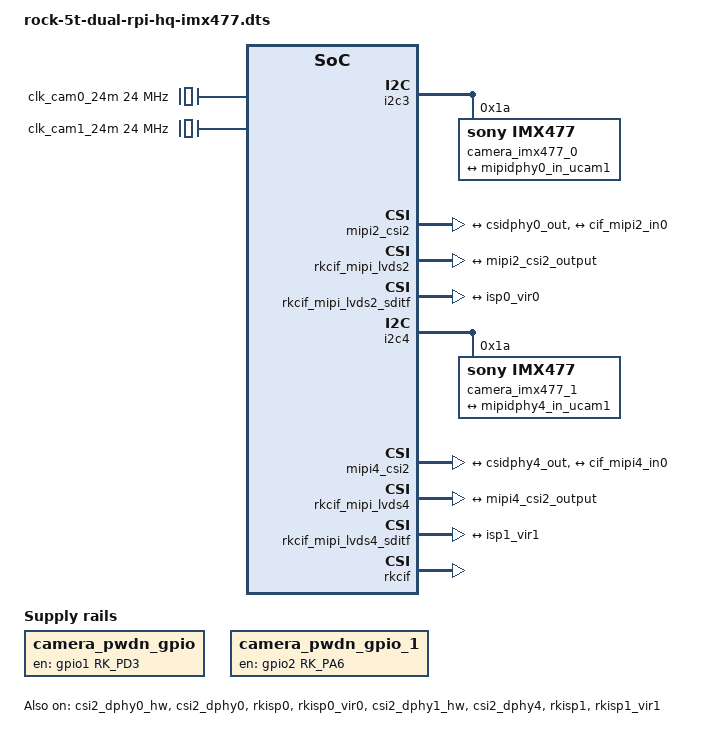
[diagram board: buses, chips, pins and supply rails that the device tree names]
/dts-v1/;
/plugin/;

/*
 * ROCK 5T: dual Raspberry Pi HQ Camera (Sony IMX477), one per CAM connector,
 * with XVS hardware genlock roles baked in (CAM0 sensor = source/master,
 * CAM1 sensor = sink/slave; the XVS pads are wired together off-board).
 *
 * Chains copied from Radxa's own rock-5t-cam{0,1}-radxa-camera-8m-219.dts
 * (the shipped, working 2-lane Sony-sensor overlays for this exact board),
 * with the sensor nodes swapped to imx477@1a. Wiring facts cross-checked
 * against the ROCK 5T v1.2 schematic sheet 18 (see ../SCHEMATIC_FACTS.md):
 *
 *   CAM0 (J5002): i2c3,      pwdn GPIO1_D3, csi2_dphy0 -> mipi2_csi2
 *                 -> rkcif_mipi_lvds2 -> rkisp0_vir0
 *   CAM1 (J10):   i2c4 (m1), pwdn GPIO2_A6, csi2_dphy4 -> mipi4_csi2
 *                 -> rkcif_mipi_lvds4 -> rkisp1_vir1
 *
 * The Pi HQ generates its own 24 MHz on-camera; the clk_cam_24m nodes are
 * fixed-clock stubs satisfying the driver's clock request.
 *
 * Requires the out-of-tree imx477.ko (../driver/) which reads the
 * trigger-mode property. IQ file: imx477_RPI-HQ_default.json (../iqfiles/).
 */

#include <dt-bindings/gpio/gpio.h>
#include <dt-bindings/pinctrl/rockchip.h>

/ {
	metadata {
		title = "Enable dual Raspberry Pi HQ Camera (IMX477, XVS genlock)";
		compatible = "radxa,rock-5t", "radxa,rock-5t-industrial";
		category = "camera";
		exclusive = "csi2_dphy0", "csi2_dphy4";
		description = "Raspberry Pi HQ Camera (IMX477) on CAM0 and CAM1, genlocked via XVS (CAM0 source, CAM1 sink).";
	};
};

&{/} {
	camera_pwdn_gpio: camera-pwdn-gpio {
		compatible = "regulator-fixed";
		regulator-name = "camera_pwdn_gpio";
		regulator-always-on;
		regulator-boot-on;
		enable-active-high;
		gpio = <&gpio1 RK_PD3 GPIO_ACTIVE_HIGH>;
		pinctrl-names = "default";
		pinctrl-0 = <&cam_pwdn_gpio>;
	};

	camera_pwdn_gpio_1: camera-pwdn-gpio-1 {
		compatible = "regulator-fixed";
		regulator-name = "camera_pwdn_gpio_1";
		regulator-always-on;
		regulator-boot-on;
		enable-active-high;
		gpio = <&gpio2 RK_PA6 GPIO_ACTIVE_HIGH>;
		pinctrl-names = "default";
		pinctrl-0 = <&cam_pwdn_gpio_1>;
	};

	clk_cam0_24m: external-camera0-clock-24m {
		compatible = "fixed-clock";
		clock-frequency = <24000000>;
		clock-output-names = "clk_cam0_24m";
		#clock-cells = <0>;
	};

	clk_cam1_24m: external-camera1-clock-24m {
		compatible = "fixed-clock";
		clock-frequency = <24000000>;
		clock-output-names = "clk_cam1_24m";
		#clock-cells = <0>;
	};
};

/* ------------------------- CAM0: genlock SOURCE ------------------------- */

&i2c3 {
	status = "okay";
	#address-cells = <1>;
	#size-cells = <0>;

	camera_imx477_0: camera-imx477@1a {
		compatible = "sony,imx477";
		reg = <0x1a>;

		clocks = <&clk_cam0_24m>;
		clock-names = "xvclk";

		rockchip,camera-module-index = <0>;
		rockchip,camera-module-facing = "back";
		rockchip,camera-module-name = "RPI-HQ";
		rockchip,camera-module-lens-name = "default";

		/* XVS genlock: this sensor drives the shared XVS wire */
		trigger-mode = "source";

		port {
			imx477_out0: endpoint {
				remote-endpoint = <&mipidphy0_in_ucam1>;
				data-lanes = <1 2>;
			};
		};
	};
};

&csi2_dphy0_hw {
	status = "okay";
};

&csi2_dphy0 {
	status = "okay";

	ports {
		#address-cells = <1>;
		#size-cells = <0>;

		port@0 {
			reg = <0>;
			#address-cells = <1>;
			#size-cells = <0>;

			mipidphy0_in_ucam1: endpoint@2 {
				reg = <2>;
				remote-endpoint = <&imx477_out0>;
				data-lanes = <1 2>;
			};
		};

		port@1 {
			reg = <1>;
			#address-cells = <1>;
			#size-cells = <0>;

			csidphy0_out: endpoint@0 {
				reg = <0>;
				remote-endpoint = <&mipi2_csi2_input>;
			};
		};
	};
};

&mipi2_csi2 {
	status = "okay";

	ports {
		#address-cells = <1>;
		#size-cells = <0>;

		port@0 {
			reg = <0>;
			#address-cells = <1>;
			#size-cells = <0>;

			mipi2_csi2_input: endpoint@1 {
				reg = <1>;
				remote-endpoint = <&csidphy0_out>;
			};
		};

		port@1 {
			reg = <1>;
			#address-cells = <1>;
			#size-cells = <0>;

			mipi2_csi2_output: endpoint@0 {
				reg = <0>;
				remote-endpoint = <&cif_mipi2_in0>;
			};
		};
	};
};

&rkcif_mipi_lvds2 {
	status = "okay";

	port {
		cif_mipi2_in0: endpoint {
			remote-endpoint = <&mipi2_csi2_output>;
		};
	};
};

&rkcif_mipi_lvds2_sditf {
	status = "okay";

	port {
		mipi_lvds2_sditf: endpoint {
			remote-endpoint = <&isp0_vir0>;
		};
	};
};

&isp0_mmu {
	status = "okay";
};

&rkisp0 {
	status = "okay";
};

&rkisp0_vir0 {
	status = "okay";

	port {
		#address-cells = <1>;
		#size-cells = <0>;

		isp0_vir0: endpoint@0 {
			reg = <0>;
			remote-endpoint = <&mipi_lvds2_sditf>;
		};
	};
};

/* -------------------------- CAM1: genlock SINK -------------------------- */

&i2c4 {
	status = "okay";
	pinctrl-names = "default";
	pinctrl-0 = <&i2c4m1_xfer>;
	#address-cells = <1>;
	#size-cells = <0>;

	camera_imx477_1: camera-imx477@1a {
		compatible = "sony,imx477";
		reg = <0x1a>;

		clocks = <&clk_cam1_24m>;
		clock-names = "xvclk";

		rockchip,camera-module-index = <1>;
		rockchip,camera-module-facing = "back";
		rockchip,camera-module-name = "RPI-HQ";
		rockchip,camera-module-lens-name = "default";

		/* XVS genlock: this sensor re-aligns to pulses on the XVS wire */
		trigger-mode = "sink";

		port {
			imx477_out1: endpoint {
				remote-endpoint = <&mipidphy4_in_ucam1>;
				data-lanes = <1 2>;
			};
		};
	};
};

&csi2_dphy1_hw {
	status = "okay";
};

&csi2_dphy4 {
	status = "okay";

	ports {
		#address-cells = <1>;
		#size-cells = <0>;

		port@0 {
			reg = <0>;
			#address-cells = <1>;
			#size-cells = <0>;

			mipidphy4_in_ucam1: endpoint@2 {
				reg = <2>;
				remote-endpoint = <&imx477_out1>;
				data-lanes = <1 2>;
			};
		};

		port@1 {
			reg = <1>;
			#address-cells = <1>;
			#size-cells = <0>;

			csidphy4_out: endpoint@0 {
				reg = <0>;
				remote-endpoint = <&mipi4_csi2_input>;
			};
		};
	};
};

&mipi4_csi2 {
	status = "okay";

	ports {
		#address-cells = <1>;
		#size-cells = <0>;

		port@0 {
			reg = <0>;
			#address-cells = <1>;
			#size-cells = <0>;

			mipi4_csi2_input: endpoint@1 {
				reg = <1>;
				remote-endpoint = <&csidphy4_out>;
			};
		};

		port@1 {
			reg = <1>;
			#address-cells = <1>;
			#size-cells = <0>;

			mipi4_csi2_output: endpoint@0 {
				reg = <0>;
				remote-endpoint = <&cif_mipi4_in0>;
			};
		};
	};
};

&rkcif_mipi_lvds4 {
	status = "okay";

	port {
		cif_mipi4_in0: endpoint {
			remote-endpoint = <&mipi4_csi2_output>;
		};
	};
};

&rkcif_mipi_lvds4_sditf {
	status = "okay";

	port {
		mipi_lvds4_sditf: endpoint {
			remote-endpoint = <&isp1_vir1>;
		};
	};
};

&isp1_mmu {
	status = "okay";
};

&rkisp1 {
	status = "okay";
};

&rkisp1_vir1 {
	status = "okay";

	port {
		#address-cells = <1>;
		#size-cells = <0>;

		isp1_vir1: endpoint@0 {
			reg = <0>;
			remote-endpoint = <&mipi_lvds4_sditf>;
		};
	};
};

/* ------------------------------- shared -------------------------------- */

&rkcif {
	status = "okay";
};

&rkcif_mmu {
	status = "okay";
};

&pinctrl {
	camera {
		cam_pwdn_gpio: cam-pwdn-gpio {
			rockchip,pins = <1 RK_PD3 RK_FUNC_GPIO &pcfg_pull_up>;
		};

		cam_pwdn_gpio_1: cam-pwdn-gpio-1 {
			rockchip,pins = <2 RK_PA6 RK_FUNC_GPIO &pcfg_pull_up>;
		};
	};
};
